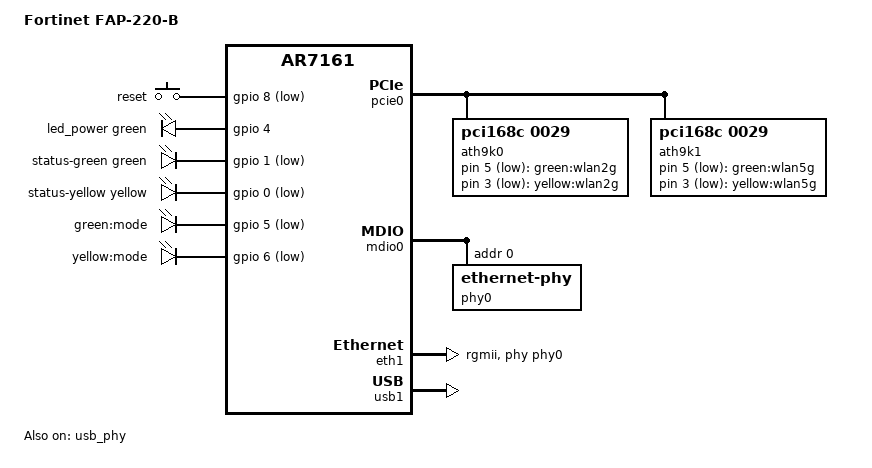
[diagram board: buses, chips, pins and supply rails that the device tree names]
// SPDX-License-Identifier: GPL-2.0-or-later OR MIT

#include "ar7100.dtsi"
#include "arxxxx_fortinet_loader.dtsi"

#include <dt-bindings/gpio/gpio.h>
#include <dt-bindings/input/input.h>
#include <dt-bindings/leds/common.h>

/ {
	compatible = "fortinet,fap-220-b", "qca,ar7161";
	model = "Fortinet FAP-220-B";

	chosen {
		bootargs = "console=ttyS0,9600";
	};

	aliases {
		led-boot = &led_power;
		led-failsafe = &led_power;
		led-running = &led_power;
		led-upgrade = &led_power;
		label-mac-device = &eth1;
	};

	keys {
		compatible = "gpio-keys";
		reset {
			label = "reset";
			linux,code = <KEY_RESTART>;
			gpios = <&gpio 8 GPIO_ACTIVE_LOW>;
			debounce-interval = <60>;
		};
	};

	leds {
		compatible = "gpio-leds";

		led_power: power-green {
			function = LED_FUNCTION_POWER;
			color = <LED_COLOR_ID_GREEN>;
			gpios = <&gpio 4 GPIO_ACTIVE_HIGH>;
			default-state = "on";
		};

		status-green {
			function = LED_FUNCTION_STATUS;
			color = <LED_COLOR_ID_GREEN>;
			gpios = <&gpio 1 GPIO_ACTIVE_LOW>;
		};

		status-yellow {
			function = LED_FUNCTION_STATUS;
			color = <LED_COLOR_ID_YELLOW>;
			gpios = <&gpio 0 GPIO_ACTIVE_LOW>;
			panic-indicator;
		};

		mode-green {
			label = "green:mode";
			gpios = <&gpio 5 GPIO_ACTIVE_LOW>;
		};

		mode-yellow {
			label = "yellow:mode";
			gpios = <&gpio 6 GPIO_ACTIVE_LOW>;
		};

		wlan2g-green {
			label = "green:wlan2g";
			gpios = <&ath9k0 5 GPIO_ACTIVE_LOW>;
			linux,default-trigger = "phy0tpt";
		};

		wlan2g-yellow {
			label = "yellow:wlan2g";
			gpios = <&ath9k0 3 GPIO_ACTIVE_LOW>;
			linux,default-trigger = "phy0assoc";
		};

		wlan5g-green {
			label = "green:wlan5g";
			gpios = <&ath9k1 5 GPIO_ACTIVE_LOW>;
			linux,default-trigger = "phy1tpt";
		};

		wlan5g-yellow {
			label = "yellow:wlan5g";
			gpios = <&ath9k1 3 GPIO_ACTIVE_LOW>;
			linux,default-trigger = "phy1assoc";
		};
	};

	virtual_flash {
		devices = <&fwconcat0 &fwconcat1 &fwconcat2>;
	};
};

&pcie0 {
	status = "okay";

	ath9k0: wifi@11,0 { /* 2.4 GHz */
		compatible = "pci168c,0029";
		reg = <0x8800 0 0 0 0>;
		ieee80211-freq-limit = <2402000 2482000>;
		nvmem-cells = <&macaddr_uboot_3ff80 9>, <&cal_art_1000>;
		nvmem-cell-names = "mac-address", "calibration";
		#gpio-cells = <2>;
		gpio-controller;
	};

	ath9k1: wifi@12,0 { /* 5 GHz */
		compatible = "pci168c,0029";
		reg = <0x9000 0 0 0 0>;
		ieee80211-freq-limit = <2402000 2482000 4900000 5990000>;
		nvmem-cells = <&macaddr_uboot_3ff80 2>, <&cal_art_5000>;
		nvmem-cell-names = "mac-address", "calibration";
		#gpio-cells = <2>;
		gpio-controller;
	};
};

&mdio0 {
	status = "okay";

	phy0: ethernet-phy@0 {
		reg = <0x0>;
	};
};

&eth0 {
	status = "okay";
	compatible = "syscon", "simple-mfd";
};

&eth1 {
	status = "okay";
	nvmem-cells = <&macaddr_uboot_3ff80 0>;
	nvmem-cell-names = "mac-address";

	pll-data = <0x00110000 0x00001099 0x00991099>;
	phy-handle = <&phy0>;
	phy-mode = "rgmii";
};

&usb1 {
	status = "okay";
};

&usb_phy {
	status = "okay";
};

&art {
	nvmem-layout {
		compatible = "fixed-layout";
		#address-cells = <1>;
		#size-cells = <1>;

		cal_art_1000: calibration@1000 {
			reg = <0x1000 0xeb8>;
		};

		cal_art_5000: calibration@5000 {
			reg = <0x5000 0xeb8>;
		};
	};
};
